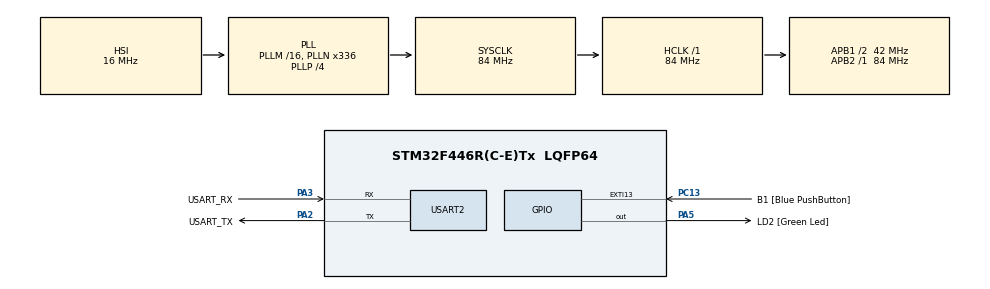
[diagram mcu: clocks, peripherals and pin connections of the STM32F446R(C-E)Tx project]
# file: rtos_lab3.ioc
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FREERTOS.BinarySemaphores01=meanSemaphore,Dynamic,NULL
FREERTOS.CountingSemaphores01=UARTSemaphore,3,Dynamic,NULL
FREERTOS.INCLUDE_vTaskDelayUntil=1
FREERTOS.Mutexes01=meanMutex,Dynamic,NULL
FREERTOS.Tasks01=defaultTask,-3,128,StartDefaultTask,Default,NULL,Dynamic,NULL,NULL;taskA,-2,1280,StartTaskA,Default,NULL,Dynamic,NULL,NULL;taskB,-1,1280,StartTaskB,Default,NULL,Dynamic,NULL,NULL;taskC,0,1280,StartTaskC,Default,NULL,Dynamic,NULL,NULL;taskUART,2,4096,StartTaskUART,Default,NULL,Dynamic,NULL,NULL
FREERTOS.configCHECK_FOR_STACK_OVERFLOW=2
FREERTOS.configENABLE_BACKWARD_COMPATIBILITY=0
FREERTOS.configENABLE_FPU=1
FREERTOS.configTOTAL_HEAP_SIZE=65536
FREERTOS.configUSE_COUNTING_SEMAPHORES=1
FREERTOS.configUSE_NEWLIB_REENTRANT=1
FREERTOS.configUSE_POSIX_ERRNO=1
Mcu.Family=STM32F4
Mcu.Name=STM32F446R(C-E)Tx
Mcu.Package=LQFP64
NVIC.PriorityGroup=NVIC_PRIORITYGROUP_4
NVIC.TIM1_UP_TIM10_IRQn=true\:15\:0\:false\:false\:true\:false\:false\:true\:true
NVIC.TimeBase=TIM1_UP_TIM10_IRQn
NVIC.TimeBaseIP=TIM1
PA13.GPIO_Label=TMS
PA13.Signal=SYS_JTMS-SWDIO
PA14.GPIO_Label=TCK
PA14.Signal=SYS_JTCK-SWCLK
PA2.GPIO_Label=USART_TX
PA2.Mode=Asynchronous
PA2.Signal=USART2_TX
PA3.GPIO_Label=USART_RX
PA3.Mode=Asynchronous
PA3.Signal=USART2_RX
PA5.GPIO_Label=LD2 [Green Led]
PA5.Signal=GPIO_Output
PB3.GPIO_Label=SWO
PB3.Signal=SYS_JTDO-SWO
PC13.GPIO_Label=B1 [Blue PushButton]
PC13.GPIO_ModeDefaultEXTI=GPIO_MODE_IT_FALLING
PC13.Signal=GPXTI13
PC14-OSC32_IN.Signal=RCC_OSC32_IN
PC15-OSC32_OUT.Signal=RCC_OSC32_OUT
PH0-OSC_IN.Signal=RCC_OSC_IN
PH1-OSC_OUT.Signal=RCC_OSC_OUT
ProjectManager.HeapSize=0x200
ProjectManager.StackSize=0x400
ProjectManager.TargetToolchain=STM32CubeIDE
RCC.AHBFreq_Value=84000000
RCC.APB1CLKDivider=RCC_HCLK_DIV2
RCC.APB1Freq_Value=42000000
RCC.APB1TimFreq_Value=84000000
RCC.APB2Freq_Value=84000000
RCC.APB2TimFreq_Value=84000000
RCC.CortexFreq_Value=84000000
RCC.FLatency-AdvancedSettings=FLASH_LATENCY_2
RCC.HCLKFreq_Value=84000000
RCC.HSE_VALUE=8000000
RCC.HSI_VALUE=16000000
RCC.LSE_VALUE=32768
RCC.PLLN=336
RCC.PLLP=RCC_PLLP_DIV4
RCC.SYSCLKFreq_VALUE=84000000
RCC.SYSCLKSource=RCC_SYSCLKSOURCE_PLLCLK
RCC.USBFreq_Value=168000000
RCC.VCOOutputFreq_Value=336000000
USART2.VirtualMode=VM_ASYNC
VP_FREERTOS_VS_CMSIS_V1.Mode=CMSIS_V1
VP_SYS_VS_tim1.Mode=TIM1
board=NUCLEO-F446RE

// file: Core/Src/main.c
/* USER CODE BEGIN Header */
/**
  ******************************************************************************
  * @file           : main.c
  * @brief          : Main program body
  ******************************************************************************
  * @attention
  *
  * Copyright (c) 2023 STMicroelectronics.
  * All rights reserved.
  *
  * This software is licensed under terms that can be found in the LICENSE file
  * in the root directory of this software component.
  * If no LICENSE file comes with this software, it is provided AS-IS.
  *
  ******************************************************************************
  */
/* USER CODE END Header */
#include "main.h"
#include "cmsis_os.h"
#include "usart.h"
#include "gpio.h"

/* USER CODE BEGIN PD */
//counter for SystemView
#define DWT_CTRL (*(volatile uint32_t*)0xE0001000)
/* USER CODE END PD */

void SystemClock_Config(void);
void MX_FREERTOS_Init(void);

/* USER CODE BEGIN 0 */
#ifdef __GNUC__
#define PUTCHAR_PROTOTYPE int __io_putchar(int ch)
#else
#define PUTCHAR_PROTOTYPE int fputc(int ch, FILE *f)
#endif

PUTCHAR_PROTOTYPE
{
  HAL_UART_Transmit(&huart2, (uint8_t *)&ch, 1, 10);
  //osDelay(10);
  return ch;
}
/* USER CODE END 0 */

int main(void)
{

  /* MCU Configuration--------------------------------------------------------*/

  /* Reset of all peripherals, Initializes the Flash interface and the Systick. */
  HAL_Init();

  /* Configure the system clock */
  SystemClock_Config();

  /* Initialize all configured peripherals */
  MX_GPIO_Init();
  MX_USART2_UART_Init();
  /* USER CODE BEGIN 2 */
  //enable counter and change priority grouping for SystemView
  DWT_CTRL |= (1 << 0);
  NVIC_SetPriorityGrouping( 0 );
  /* USER CODE END 2 */

  /* Call init function for freertos objects (in freertos.c) */
  MX_FREERTOS_Init();

  /* Start scheduler */
  osKernelStart();

  /* We should never get here as control is now taken by the scheduler */
  /* Infinite loop */
  while (1)
  {

  }
}

void SystemClock_Config(void)
{
  RCC_OscInitTypeDef RCC_OscInitStruct = {0};
  RCC_ClkInitTypeDef RCC_ClkInitStruct = {0};

  /** Configure the main internal regulator output voltage
  */
  __HAL_RCC_PWR_CLK_ENABLE();
  __HAL_PWR_VOLTAGESCALING_CONFIG(PWR_REGULATOR_VOLTAGE_SCALE3);

  /** Initializes the RCC Oscillators according to the specified parameters
  * in the RCC_OscInitTypeDef structure.
  */
  RCC_OscInitStruct.OscillatorType = RCC_OSCILLATORTYPE_HSI;
  RCC_OscInitStruct.HSIState = RCC_HSI_ON;
  RCC_OscInitStruct.HSICalibrationValue = RCC_HSICALIBRATION_DEFAULT;
  RCC_OscInitStruct.PLL.PLLState = RCC_PLL_ON;
  RCC_OscInitStruct.PLL.PLLSource = RCC_PLLSOURCE_HSI;
  RCC_OscInitStruct.PLL.PLLM = 16;
  RCC_OscInitStruct.PLL.PLLN = 336;
  RCC_OscInitStruct.PLL.PLLP = RCC_PLLP_DIV4;
  RCC_OscInitStruct.PLL.PLLQ = 2;
  RCC_OscInitStruct.PLL.PLLR = 2;
  if (HAL_RCC_OscConfig(&RCC_OscInitStruct) != HAL_OK)
  {
    Error_Handler();
  }

  /** Initializes the CPU, AHB and APB buses clocks
  */
  RCC_ClkInitStruct.ClockType = RCC_CLOCKTYPE_HCLK|RCC_CLOCKTYPE_SYSCLK
                              |RCC_CLOCKTYPE_PCLK1|RCC_CLOCKTYPE_PCLK2;
  RCC_ClkInitStruct.SYSCLKSource = RCC_SYSCLKSOURCE_PLLCLK;
  RCC_ClkInitStruct.AHBCLKDivider = RCC_SYSCLK_DIV1;
  RCC_ClkInitStruct.APB1CLKDivider = RCC_HCLK_DIV2;
  RCC_ClkInitStruct.APB2CLKDivider = RCC_HCLK_DIV1;

  if (HAL_RCC_ClockConfig(&RCC_ClkInitStruct, FLASH_LATENCY_2) != HAL_OK)
  {
    Error_Handler();
  }
}

void HAL_TIM_PeriodElapsedCallback(TIM_HandleTypeDef *htim)
{
  if (htim->Instance == TIM1) {
    HAL_IncTick();
  }
}

void Error_Handler(void)
{
  __disable_irq();
  while (1)
  {
  }
}

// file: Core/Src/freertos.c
/* USER CODE BEGIN Header */
/**
  ******************************************************************************
  * File Name          : freertos.c
  * Description        : Code for freertos applications
  ******************************************************************************
  * @attention
  *
  * Copyright (c) 2023 STMicroelectronics.
  * All rights reserved.
  *
  * This software is licensed under terms that can be found in the LICENSE file
  * in the root directory of this software component.
  * If no LICENSE file comes with this software, it is provided AS-IS.
  *
  ******************************************************************************
  */
/* USER CODE END Header */

#include "FreeRTOS.h"
#include "task.h"
#include "main.h"
#include "cmsis_os.h"

/* USER CODE BEGIN Includes */
#include <stdlib.h>
#include <stdio.h>
#include <time.h>
#include <math.h>
/* USER CODE END Includes */

/* USER CODE BEGIN PD */
#define NUMBER_OF_RANDS 1000
#define NUMBER_OF_TASKS 3
/* USER CODE END PD */

/* USER CODE BEGIN Variables */
means_s allMeans;
int counter = 0;
/* USER CODE END Variables */
osThreadId defaultTaskHandle;
osThreadId taskAHandle;
osThreadId taskBHandle;
osThreadId taskCHandle;
osThreadId taskUARTHandle;
osMutexId meanMutexHandle;
osSemaphoreId meanSemaphoreHandle;
osSemaphoreId UARTSemaphoreHandle;

/* USER CODE BEGIN FunctionPrototypes */
void randomizeAndCalculate(float* randsArray, float* sum, float* squareSum);
void acquireSemaphoreOrMutex();
void releaseSemaphoreOrMutex();
/* USER CODE END FunctionPrototypes */

void StartDefaultTask(void const * argument);
void StartTaskA(void const * argument);
void StartTaskB(void const * argument);
void StartTaskC(void const * argument);
void StartTaskUART(void const * argument);

void MX_FREERTOS_Init(void); /* (MISRA C 2004 rule 8.1) */

/* GetIdleTaskMemory prototype (linked to static allocation support) */
void vApplicationGetIdleTaskMemory( StaticTask_t **ppxIdleTaskTCBBuffer, StackType_t **ppxIdleTaskStackBuffer, uint32_t *pulIdleTaskStackSize );

/* Hook prototypes */
void vApplicationStackOverflowHook(TaskHandle_t xTask, signed char *pcTaskName);

/* USER CODE BEGIN 4 */
__weak void vApplicationStackOverflowHook(TaskHandle_t xTask, signed char *pcTaskName)
{
   /* Run time stack overflow checking is performed if
   configCHECK_FOR_STACK_OVERFLOW is defined to 1 or 2. This hook function is
   called if a stack overflow is detected. */
}
/* USER CODE END 4 */

/* USER CODE BEGIN GET_IDLE_TASK_MEMORY */
static StaticTask_t xIdleTaskTCBBuffer;
static StackType_t xIdleStack[configMINIMAL_STACK_SIZE];

void vApplicationGetIdleTaskMemory( StaticTask_t **ppxIdleTaskTCBBuffer, StackType_t **ppxIdleTaskStackBuffer, uint32_t *pulIdleTaskStackSize )
{
  *ppxIdleTaskTCBBuffer = &xIdleTaskTCBBuffer;
  *ppxIdleTaskStackBuffer = &xIdleStack[0];
  *pulIdleTaskStackSize = configMINIMAL_STACK_SIZE;
  /* place for user code */
}
/* USER CODE END GET_IDLE_TASK_MEMORY */

void MX_FREERTOS_Init(void) {
  /* Create the mutex(es) */
  /* definition and creation of meanMutex */
  osMutexDef(meanMutex);
  meanMutexHandle = osMutexCreate(osMutex(meanMutex));

  /* Create the semaphores(s) */
  /* definition and creation of meanSemaphore */
  osSemaphoreDef(meanSemaphore);
  meanSemaphoreHandle = osSemaphoreCreate(osSemaphore(meanSemaphore), 1);

  /* definition and creation of UARTSemaphore */
  osSemaphoreDef(UARTSemaphore);
  UARTSemaphoreHandle = osSemaphoreCreate(osSemaphore(UARTSemaphore), 3);

  /* Create the thread(s) */
  /* definition and creation of defaultTask */
  osThreadDef(defaultTask, StartDefaultTask, osPriorityIdle, 0, 128);
  defaultTaskHandle = osThreadCreate(osThread(defaultTask), NULL);

  /* definition and creation of taskA */
  osThreadDef(taskA, StartTaskA, osPriorityBelowNormal, 0, 1280);
  taskAHandle = osThreadCreate(osThread(taskA), NULL);

  /* definition and creation of taskB */
  osThreadDef(taskB, StartTaskB, osPriorityNormal, 0, 1280);
  taskBHandle = osThreadCreate(osThread(taskB), NULL);

  /* definition and creation of taskC */
  osThreadDef(taskC, StartTaskC, osPriorityHigh, 0, 1280);
  taskCHandle = osThreadCreate(osThread(taskC), NULL);

  /* definition and creation of taskUART */
  osThreadDef(taskUART, StartTaskUART, osPriorityLow, 0, 4096);
  taskUARTHandle = osThreadCreate(osThread(taskUART), NULL);

  /* USER CODE BEGIN RTOS_THREADS */
  /* add threads, ... */

  //initialization of SystemView (here and not in main because it has to be done after init of OS but before start and in
  //main code would be deleted by CubeMX
  SEGGER_SYSVIEW_Conf();
  SEGGER_SYSVIEW_Start();

  /* USER CODE END RTOS_THREADS */

}

void StartDefaultTask(void const * argument)
{
  for(;;)
  {
    osDelay(1);
  }
}

void StartTaskA(void const * argument)
{
  /* USER CODE BEGIN StartTaskA */
  float randValue[NUMBER_OF_RANDS];
  float sum = 0;
  float squareSum = 0;
  /* Infinite loop */
  for(;;)
  {
    randomizeAndCalculate(randValue, &sum, &squareSum);

    acquireSemaphoreOrMutex();

	allMeans.taskA_mean = sum / NUMBER_OF_RANDS;
	allMeans.taskA_meanSquare = sqrt(squareSum / NUMBER_OF_RANDS);

	releaseSemaphoreOrMutex();

    //osDelay(1);
	//osThreadYield();
	//xTaskNotifyGive(taskUARTHandle);
//	xTaskNotifyGiveIndexed(taskUARTHandle, 0);
	osSemaphoreRelease(UARTSemaphoreHandle);
	vTaskSuspend(NULL);
  }
  /* USER CODE END StartTaskA */
}

void StartTaskB(void const * argument)
{
  /* USER CODE BEGIN StartTaskB */
  float randValue[NUMBER_OF_RANDS];
  float sum = 0;
  float squareSum = 0;
  /* Infinite loop */
  for(;;)
  {
	randomizeAndCalculate(randValue, &sum, &squareSum);

	acquireSemaphoreOrMutex();

	allMeans.taskB_mean = sum / NUMBER_OF_RANDS;
	allMeans.taskB_meanSquare = sqrt(squareSum / NUMBER_OF_RANDS);

	releaseSemaphoreOrMutex();

    //osDelay(1);
    //osThreadYield();
//	xTaskNotifyGiveIndexed(taskUARTHandle, 1);
	osSemaphoreRelease(UARTSemaphoreHandle);
    vTaskSuspend(NULL);
  }
  /* USER CODE END StartTaskB */
}

void StartTaskC(void const * argument)
{
  /* USER CODE BEGIN StartTaskC */
  float randValue[NUMBER_OF_RANDS];
  float sum = 0;
  float squareSum = 0;

  /* Infinite loop */
  for(;;)
  {
	randomizeAndCalculate(randValue, &sum, &squareSum);

	acquireSemaphoreOrMutex();

	allMeans.taskC_mean = sum / NUMBER_OF_RANDS;
	allMeans.taskC_meanSquare = sqrt(squareSum / NUMBER_OF_RANDS);

	releaseSemaphoreOrMutex();

    //osDelay(1);
	//osThreadYield();
//	xTaskNotifyGiveIndexed(taskUARTHandle, 2);
	osSemaphoreRelease(UARTSemaphoreHandle);
	vTaskSuspend(NULL);
  }
  /* USER CODE END StartTaskC */
}

void StartTaskUART(void const * argument)
{
  /* USER CODE BEGIN StartTaskUART */
  float finalMean = 0;
  float finalMeanSquare = 0;
  /* Infinite loop */
  for(;;)
  {
//	ulTaskNotifyTakeIndexed(0, pdFALSE, portMAX_DELAY);
//	ulTaskNotifyTakeIndexed(1, pdFALSE, portMAX_DELAY);
//	ulTaskNotifyTakeIndexed(2, pdFALSE, portMAX_DELAY);
//	ulTaskNotifyTake(pdFALSE, portMAX_DELAY);
	osSemaphoreWait(UARTSemaphoreHandle, osWaitForever);
	osSemaphoreWait(UARTSemaphoreHandle, osWaitForever);
	osSemaphoreWait(UARTSemaphoreHandle, osWaitForever);

	HAL_GPIO_TogglePin(LD2_GPIO_Port, LD2_Pin);

    acquireSemaphoreOrMutex();

	finalMean = (allMeans.taskA_mean + allMeans.taskB_mean + allMeans.taskC_mean) / NUMBER_OF_TASKS;
	finalMeanSquare = (allMeans.taskA_meanSquare + allMeans.taskB_meanSquare + allMeans.taskC_meanSquare) / NUMBER_OF_TASKS;
	printf("Hello from uart, calculated data:\r\n mean: %.8f\r\n mean square: %.8f\r\n\r\n", finalMean, finalMeanSquare);

	releaseSemaphoreOrMutex();

	vTaskResume(taskAHandle);
	vTaskResume(taskBHandle);
	vTaskResume(taskCHandle);

    osDelay(1);
  }
  /* USER CODE END StartTaskUART */
}

/* USER CODE BEGIN Application */
void randomizeAndCalculate(float* randsArray, float* sum, float* squareSum)
{
	*sum = 0;
	*squareSum = 0;
	srand(osKernelSysTick());
	for(int i = 0; i < NUMBER_OF_RANDS; i++)
	{
		randsArray[i] = (float)rand()/(float)(RAND_MAX/2) - 1;
		*sum += randsArray[i];
		*squareSum += ((randsArray[i]) * (randsArray[i]));
	}
}

void acquireSemaphoreOrMutex()
{
#ifdef SEMAPHORE_VARIANT
	osSemaphoreWait(meanSemaphoreHandle, osWaitForever);
#else
	osMutexWait(meanMutexHandle, osWaitForever);
#endif
}

void releaseSemaphoreOrMutex()
{
#ifdef SEMAPHORE_VARIANT
	osSemaphoreRelease(meanSemaphoreHandle);
#else
	osMutexRelease(meanMutexHandle);
#endif
}
/* USER CODE END Application */
